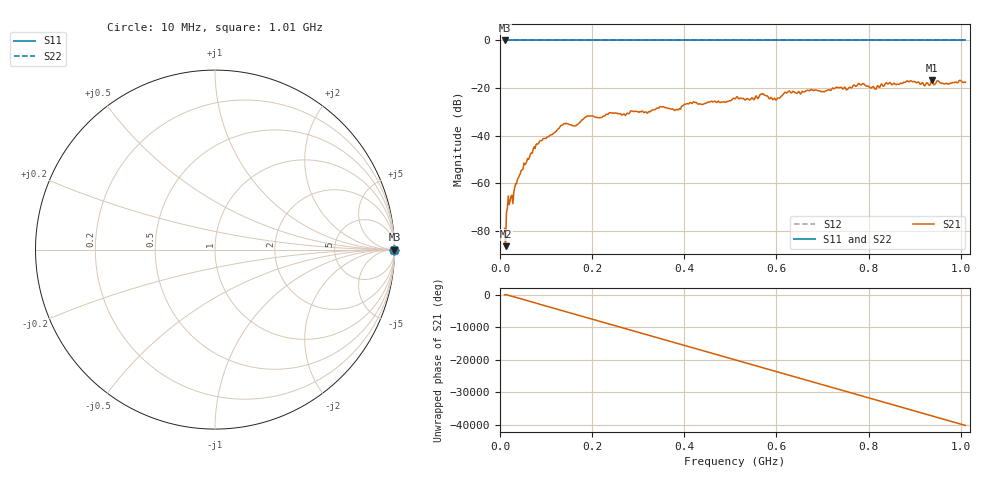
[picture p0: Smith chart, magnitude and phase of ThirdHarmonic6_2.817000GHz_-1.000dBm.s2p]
! 8/17/2025 7:26:06 AM
! C:\ANRITSUVNA\TEMP\TEMP.S2P
! CHANNEL.1
! TR.MEASUREMENT
! RAW.DATA
! RF.CORRECTION.OFF
! AVERAGING.OFF
! IF.BANDWIDTH: 5KHZ
! SWEEPTYPE:  FREQ.SWEEP(Linear)
! Reference Plane Port Info
! PORT:  PORT1  PORT2
! DISTANCE:  0  m  0  m
! TIME:  0  s  0  s
! PHASE.OFFSET:  0  deg.  0  deg.
! LOSS:  0  dB  0  dB
! REF.LOSS:  0  dB  0  dB
! REF.FREQ:  0  Hz  0  Hz
! Power Info
! POWER:  -20  dBm  -20  dBm
! EFF.POWER:  -20  dBm  -20  dBm
! SOURCE.ATTEN:  0  dB  0  dB
! TEST.ATTEN:  0  dB  0  dB
# GHZ S RI R 50.0
! FREQ.GHZ  S11RE  S11IM  S21RE  S21IM  S12RE  S12IM  S22RE  S22IM
!; PortSelection: Port_12
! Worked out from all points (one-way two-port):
!   501 points, 10 MHz to 1.01 GHz, reference 50 ohm
!   highest |S21| = -16.64 dB at 938 MHz (marker M1); lowest = -86.5 dB at 12 MHz (marker M2)
!   lowest |S11| = 0.0 dB at 10 MHz (marker M3)
!   |S11| at or under -10 dB: nowhere
!   |S22| runs from 0.0 to 0.0 dB; largest |S21 - S12| = 1.1
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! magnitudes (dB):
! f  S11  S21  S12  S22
! 10 MHz  0.0  -79.1  0.0  0.0
! 12 MHz  0.0  -86.5  0.0  0.0
! 18 MHz  0.0  -65.4  0.0  0.0
! 22 MHz  0.0  -67.4  0.0  0.0
! 24 MHz  0.0  -65.5  0.0  0.0
! 48 MHz  0.0  -54.4  0.0  0.0
! 76 MHz  0.0  -45.4  0.0  0.0
! 136 MHz  0.0  -35.6  0.0  0.0
! 162 MHz  0.0  -36.0  0.0  0.0
! 178 MHz  0.0  -33.4  0.0  0.0
! 344 MHz  0.0  -28.5  0.0  0.0
! 382 MHz  0.0  -29.1  0.0  0.0
! 416 MHz  0.0  -26.5  0.0  0.0
! 510 MHz  0.0  -24.6  0.0  0.0
! 568 MHz  0.0  -22.6  0.0  0.0
! 596 MHz  0.0  -24.3  0.0  0.0
! 624 MHz  0.0  -21.8  0.0  0.0
! 678 MHz  0.0  -20.9  0.0  0.0
! 814 MHz  0.0  -20.5  0.0  0.0
! 844 MHz  0.0  -18.0  0.0  0.0
! 938 MHz  0.0  -16.6  0.0  0.0
! 1.01 GHz  0.0  -17.6  0.0  0.0
